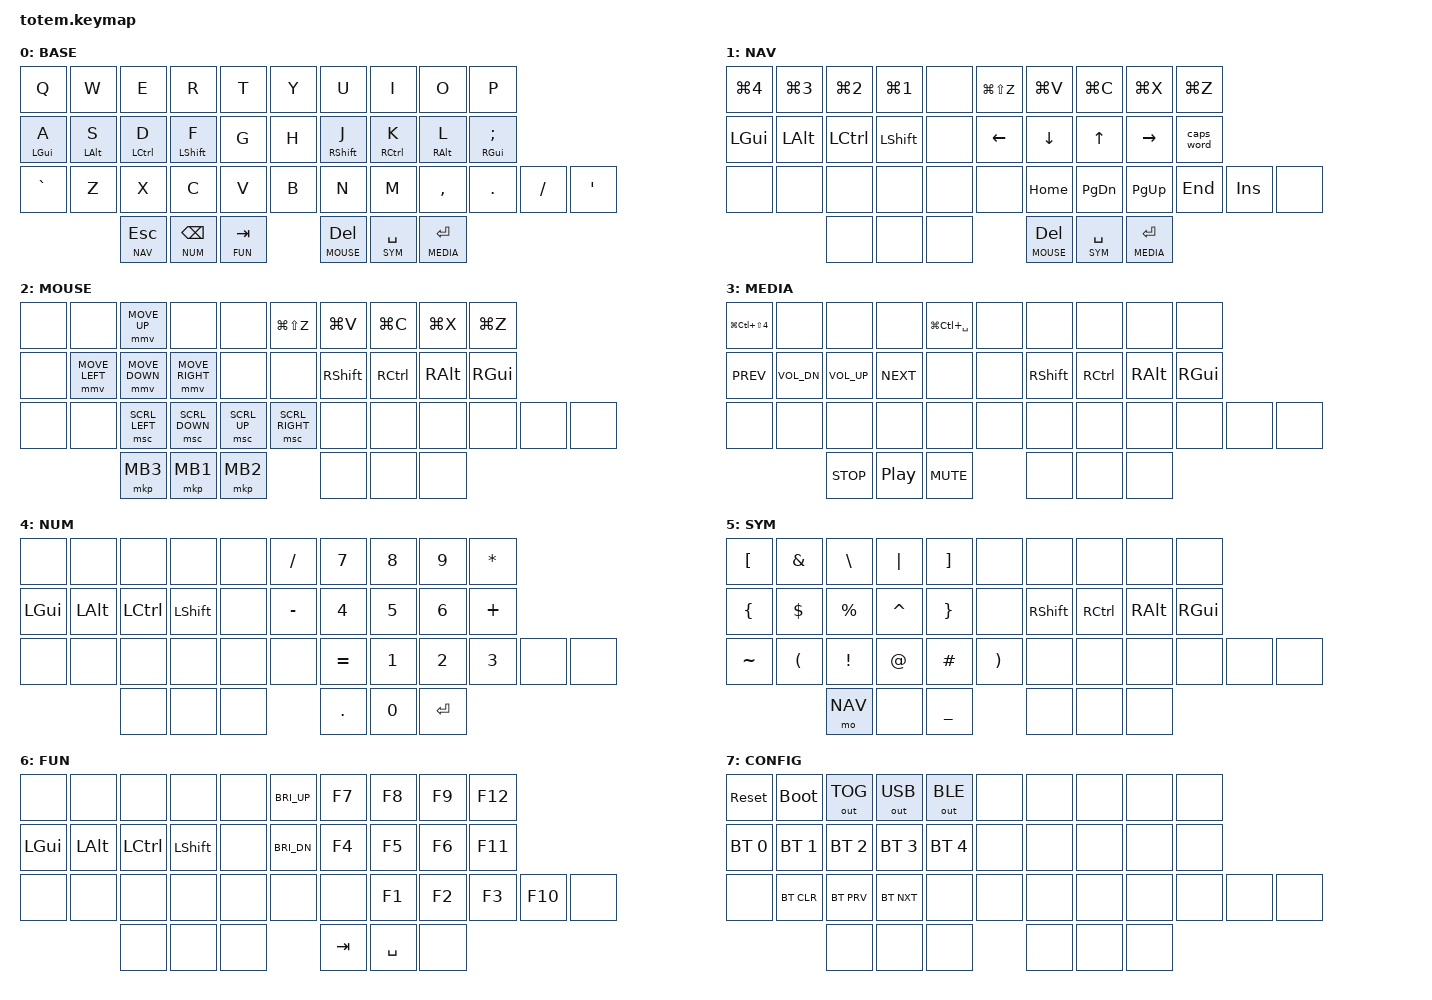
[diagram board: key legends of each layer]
#include <behaviors.dtsi>
#include <behaviors/mouse_keys.dtsi>
#include <dt-bindings/zmk/keys.h>
#include <dt-bindings/zmk/bt.h>
#include <dt-bindings/zmk/outputs.h>
#include <dt-bindings/zmk/pointing.h>

#define BASE   0
#define NAV    1
#define MOUSE  2
#define MEDIA  3
#define NUM    4
#define SYM    5
#define FUN    6
#define CONFIG 7

#define SSHOT LG(LC(LS(N4)))
#define EMOJI LG(LC(SPACE))

/ {
    behaviors {
        // Match Miryoku's home-row mod behavior: rolls remain taps, and
        // modifiers activate only after being held through the tapping term.
        hm: home_row_mod {
            compatible = "zmk,behavior-hold-tap";
            #binding-cells = <2>;
            flavor = "tap-preferred";
            tapping-term-ms = <200>;
            bindings = <&kp>, <&kp>;
        };

        // Thumb layer-taps are kept separate from home-row mod timing.
        thumb_lt: thumb_layer_tap {
            compatible = "zmk,behavior-hold-tap";
            #binding-cells = <2>;
            flavor = "tap-preferred";
            tapping-term-ms = <200>;
            quick-tap-ms = <250>;
            bindings = <&mo>, <&kp>;
        };
    };

    conditional_layers {
        compatible = "zmk,conditional-layers";

        // Hold Esc/Nav and Space/Sym together for hardware configuration.
        config_layer {
            if-layers = <NAV SYM>;
            then-layer = <CONFIG>;
        };
    };

    keymap {
        compatible = "zmk,keymap";

        base_layer {
            display-name = "BASE";
            bindings = <
                &kp Q          &kp W          &kp E           &kp R           &kp T               &kp Y           &kp U           &kp I           &kp O           &kp P
                &hm LGUI A     &hm LALT S     &hm LCTRL D     &hm LSHFT F     &kp G               &kp H           &hm RSHFT J     &hm RCTRL K     &hm RALT L      &hm RGUI SEMI
                &kp GRAVE      &kp Z          &kp X           &kp C           &kp V           &kp B               &kp N           &kp M           &kp COMMA       &kp DOT         &kp FSLH        &kp SQT
                                                &thumb_lt NAV ESC  &thumb_lt NUM BSPC  &thumb_lt FUN TAB    &thumb_lt MOUSE DEL  &thumb_lt SYM SPACE  &thumb_lt MEDIA RET
            >;
        };

        nav_layer {
            display-name = "NAV";
            bindings = <
                &kp LG(N4)     &kp LG(N3)     &kp LG(N2)      &kp LG(N1)      &none               &kp LG(LS(Z))    &kp LG(V)       &kp LG(C)       &kp LG(X)       &kp LG(Z)
                &kp LGUI       &kp LALT       &kp LCTRL       &kp LSHFT       &none               &kp LEFT        &kp DOWN        &kp UP          &kp RIGHT       &caps_word
                &none          &none          &none           &none           &none           &none               &kp HOME        &kp PG_DN       &kp PG_UP       &kp END         &kp INS         &none
                                                &none                &none                &none                  &thumb_lt MOUSE DEL  &thumb_lt SYM SPACE  &thumb_lt MEDIA RET
            >;
        };

        mouse_layer {
            display-name = "MOUSE";
            bindings = <
                &none          &none          &mmv MOVE_UP    &none           &none               &kp LG(LS(Z))    &kp LG(V)       &kp LG(C)       &kp LG(X)       &kp LG(Z)
                &none          &mmv MOVE_LEFT &mmv MOVE_DOWN  &mmv MOVE_RIGHT &none               &none           &kp RSHFT      &kp RCTRL      &kp RALT       &kp RGUI
                &none          &none          &msc SCRL_LEFT  &msc SCRL_DOWN  &msc SCRL_UP    &msc SCRL_RIGHT    &none           &none           &none           &none           &none           &none
                                                &mkp MB3             &mkp MB1             &mkp MB2               &none              &none               &none
            >;
        };

        media_layer {
            display-name = "MEDIA";
            bindings = <
                &kp SSHOT      &none          &none           &none           &kp EMOJI           &none           &none           &none           &none           &none
                &kp C_PREV     &kp C_VOL_DN   &kp C_VOL_UP    &kp C_NEXT      &none               &none           &kp RSHFT      &kp RCTRL      &kp RALT       &kp RGUI
                &none          &none          &none           &none           &none           &none               &none           &none           &none           &none           &none           &none
                                                &kp C_STOP           &kp C_PP             &kp C_MUTE             &none              &none               &none
            >;
        };

        num_layer {
            display-name = "NUM";
            bindings = <
                &none          &none          &none           &none           &none               &kp FSLH       &kp N7         &kp N8         &kp N9         &kp STAR
                &kp LGUI       &kp LALT       &kp LCTRL       &kp LSHFT       &none               &kp MINUS      &kp N4         &kp N5         &kp N6         &kp PLUS
                &none          &none          &none           &none           &none           &none               &kp EQUAL      &kp N1         &kp N2         &kp N3         &none           &none
                                                &none                &none                &none                  &kp DOT            &kp N0             &kp RET
            >;
        };

        sym_layer {
            display-name = "SYM";
            bindings = <
                &kp LBKT       &kp AMPS       &kp BSLH        &kp PIPE        &kp RBKT            &none           &none           &none           &none           &none
                &kp LBRC       &kp DLLR       &kp PRCNT       &kp CARET       &kp RBRC            &none           &kp RSHFT      &kp RCTRL      &kp RALT       &kp RGUI
                &kp TILDE      &kp LPAR       &kp EXCL        &kp AT          &kp HASH        &kp RPAR            &none           &none           &none           &none           &none           &none
                                                &mo NAV              &none                &kp UNDER              &none              &none               &none
            >;
        };

        fun_layer {
            display-name = "FUN";
            bindings = <
                &none          &none          &none           &none           &none               &kp C_BRI_UP   &kp F7         &kp F8         &kp F9         &kp F12
                &kp LGUI       &kp LALT       &kp LCTRL       &kp LSHFT       &none               &kp C_BRI_DN   &kp F4         &kp F5         &kp F6         &kp F11
                &none          &none          &none           &none           &none           &none               &none          &kp F1         &kp F2         &kp F3         &kp F10        &none
                                                &none                &none                &none                  &kp TAB            &kp SPACE          &none
            >;
        };

        config_layer {
            display-name = "CONFIG";
            bindings = <
                &sys_reset     &bootloader    &out OUT_TOG    &out OUT_USB    &out OUT_BLE        &none           &none           &none           &none           &none
                &bt BT_SEL 0   &bt BT_SEL 1   &bt BT_SEL 2    &bt BT_SEL 3   &bt BT_SEL 4        &none           &none           &none           &none           &none
                &none          &bt BT_CLR     &bt BT_PRV      &bt BT_NXT      &none          &none               &none           &none           &none           &none           &none           &none
                                                &none                &none                &none                  &none              &none               &none
            >;
        };
    };
};
